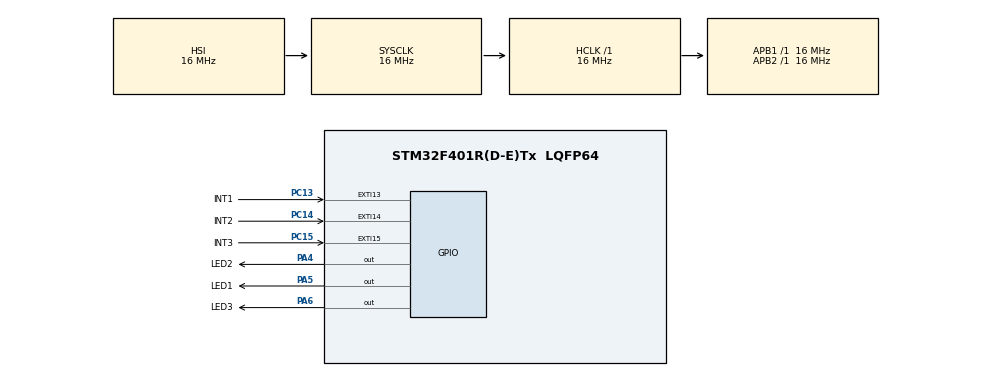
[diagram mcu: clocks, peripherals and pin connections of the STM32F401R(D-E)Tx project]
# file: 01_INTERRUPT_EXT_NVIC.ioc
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Mcu.Family=STM32F4
Mcu.Name=STM32F401R(D-E)Tx
Mcu.Package=LQFP64
NVIC.EXTI15_10_IRQn=true\:1\:0\:true\:false\:true\:true\:true\:true
NVIC.PriorityGroup=NVIC_PRIORITYGROUP_4
PA4.GPIO_Label=LED2
PA4.Signal=GPIO_Output
PA5.GPIO_Label=LED1
PA5.Signal=GPIO_Output
PA6.GPIO_Label=LED3
PA6.Signal=GPIO_Output
PC13-ANTI_TAMP.GPIO_Label=INT1
PC13-ANTI_TAMP.GPIO_ModeDefaultEXTI=GPIO_MODE_IT_FALLING
PC13-ANTI_TAMP.Signal=GPXTI13
PC14-OSC32_IN.GPIO_Label=INT2
PC14-OSC32_IN.GPIO_ModeDefaultEXTI=GPIO_MODE_IT_RISING
PC14-OSC32_IN.GPIO_PuPd=GPIO_PULLDOWN
PC14-OSC32_IN.Signal=GPXTI14
PC15-OSC32_OUT.GPIO_Label=INT3
PC15-OSC32_OUT.GPIO_ModeDefaultEXTI=GPIO_MODE_IT_RISING_FALLING
PC15-OSC32_OUT.GPIO_PuPd=GPIO_PULLUP
PC15-OSC32_OUT.Signal=GPXTI15
ProjectManager.HeapSize=0x200
ProjectManager.StackSize=0x400
ProjectManager.TargetToolchain=STM32CubeIDE
RCC.AHBFreq_Value=16000000
RCC.APB1Freq_Value=16000000
RCC.APB2Freq_Value=16000000
RCC.CortexFreq_Value=16000000
RCC.HSE_VALUE=25000000
RCC.HSI_VALUE=16000000
RCC.LSE_VALUE=32768
RCC.SYSCLKFreq_VALUE=16000000
RCC.VCOOutputFreq_Value=192000000
board=custom

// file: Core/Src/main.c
/* USER CODE BEGIN Header */
/**
  ******************************************************************************
  * @file           : main.c
  * @brief          : Main program body
  ******************************************************************************
  * @attention
  *
  * Copyright (c) 2023 STMicroelectronics.
  * All rights reserved.
  *
  * This software is licensed under terms that can be found in the LICENSE file
  * in the root directory of this software component.
  * If no LICENSE file comes with this software, it is provided AS-IS.
  *
  ******************************************************************************
  */
/* USER CODE END Header */
#include "main.h"

/* USER CODE BEGIN Includes */
#include <stdbool.h>
/* USER CODE END Includes */

/* USER CODE BEGIN PV */
volatile bool flag1=false, flag2=false, flag3=false;
/* USER CODE END PV */

void SystemClock_Config(void);
static void MX_GPIO_Init(void);

int main(void)
{

  /* MCU Configuration--------------------------------------------------------*/

  /* Reset of all peripherals, Initializes the Flash interface and the Systick. */
  HAL_Init();

  /* Configure the system clock */
  SystemClock_Config();

  /* Initialize all configured peripherals */
  MX_GPIO_Init();

  /* Infinite loop */
  /* USER CODE BEGIN WHILE */
  while (1)
  {

	  if(flag1){
		  HAL_GPIO_WritePin(GPIOA, LED1_Pin, GPIO_PIN_RESET);
		  for (uint8_t i = 0; i < 10; ++i) {
			HAL_GPIO_TogglePin(GPIOA, LED1_Pin);
			HAL_Delay(200);
		}
	  flag1=false;
	  }

	  if(flag2){
		  HAL_GPIO_WritePin(GPIOA, LED2_Pin, GPIO_PIN_RESET);
		  for (uint8_t k = 0; k < 10; ++k) {
			HAL_GPIO_TogglePin(GPIOA, LED2_Pin);
			HAL_Delay(200);
		}
	  flag2=false;
	  }

	  if(flag3){
		  HAL_GPIO_WritePin(GPIOA, LED3_Pin, GPIO_PIN_RESET);
		  for (uint8_t j = 0; j < 10; ++j) {
			HAL_GPIO_TogglePin(GPIOA, LED3_Pin);
			HAL_Delay(200);
		}
	  flag3=false;
	  }
    /* USER CODE END WHILE */

  }
}

void SystemClock_Config(void)
{
  RCC_OscInitTypeDef RCC_OscInitStruct = {0};
  RCC_ClkInitTypeDef RCC_ClkInitStruct = {0};

  /** Configure the main internal regulator output voltage
  */
  __HAL_RCC_PWR_CLK_ENABLE();
  __HAL_PWR_VOLTAGESCALING_CONFIG(PWR_REGULATOR_VOLTAGE_SCALE2);

  /** Initializes the RCC Oscillators according to the specified parameters
  * in the RCC_OscInitTypeDef structure.
  */
  RCC_OscInitStruct.OscillatorType = RCC_OSCILLATORTYPE_HSI;
  RCC_OscInitStruct.HSIState = RCC_HSI_ON;
  RCC_OscInitStruct.HSICalibrationValue = RCC_HSICALIBRATION_DEFAULT;
  RCC_OscInitStruct.PLL.PLLState = RCC_PLL_NONE;
  if (HAL_RCC_OscConfig(&RCC_OscInitStruct) != HAL_OK)
  {
    Error_Handler();
  }

  /** Initializes the CPU, AHB and APB buses clocks
  */
  RCC_ClkInitStruct.ClockType = RCC_CLOCKTYPE_HCLK|RCC_CLOCKTYPE_SYSCLK
                              |RCC_CLOCKTYPE_PCLK1|RCC_CLOCKTYPE_PCLK2;
  RCC_ClkInitStruct.SYSCLKSource = RCC_SYSCLKSOURCE_HSI;
  RCC_ClkInitStruct.AHBCLKDivider = RCC_SYSCLK_DIV1;
  RCC_ClkInitStruct.APB1CLKDivider = RCC_HCLK_DIV1;
  RCC_ClkInitStruct.APB2CLKDivider = RCC_HCLK_DIV1;

  if (HAL_RCC_ClockConfig(&RCC_ClkInitStruct, FLASH_LATENCY_0) != HAL_OK)
  {
    Error_Handler();
  }
}

static void MX_GPIO_Init(void)
{
  GPIO_InitTypeDef GPIO_InitStruct = {0};

  /* GPIO Ports Clock Enable */
  __HAL_RCC_GPIOC_CLK_ENABLE();
  __HAL_RCC_GPIOA_CLK_ENABLE();

  /*Configure GPIO pin Output Level */
  HAL_GPIO_WritePin(GPIOA, LED2_Pin|LED1_Pin|LED3_Pin, GPIO_PIN_RESET);

  /*Configure GPIO pin : INT1_Pin */
  GPIO_InitStruct.Pin = INT1_Pin;
  GPIO_InitStruct.Mode = GPIO_MODE_IT_FALLING;
  GPIO_InitStruct.Pull = GPIO_NOPULL;
  HAL_GPIO_Init(INT1_GPIO_Port, &GPIO_InitStruct);

  /*Configure GPIO pin : INT2_Pin */
  GPIO_InitStruct.Pin = INT2_Pin;
  GPIO_InitStruct.Mode = GPIO_MODE_IT_RISING;
  GPIO_InitStruct.Pull = GPIO_PULLDOWN;
  HAL_GPIO_Init(INT2_GPIO_Port, &GPIO_InitStruct);

  /*Configure GPIO pin : INT3_Pin */
  GPIO_InitStruct.Pin = INT3_Pin;
  GPIO_InitStruct.Mode = GPIO_MODE_IT_RISING_FALLING;
  GPIO_InitStruct.Pull = GPIO_PULLUP;
  HAL_GPIO_Init(INT3_GPIO_Port, &GPIO_InitStruct);

  /*Configure GPIO pins : LED2_Pin LED1_Pin LED3_Pin */
  GPIO_InitStruct.Pin = LED2_Pin|LED1_Pin|LED3_Pin;
  GPIO_InitStruct.Mode = GPIO_MODE_OUTPUT_PP;
  GPIO_InitStruct.Pull = GPIO_NOPULL;
  GPIO_InitStruct.Speed = GPIO_SPEED_FREQ_LOW;
  HAL_GPIO_Init(GPIOA, &GPIO_InitStruct);

  /* EXTI interrupt init*/
  HAL_NVIC_SetPriority(EXTI15_10_IRQn, 1, 0);
  HAL_NVIC_EnableIRQ(EXTI15_10_IRQn);

}

/* USER CODE BEGIN 4 */

void HAL_GPIO_EXTI_Callback(uint16_t GPIO_Pin)
{
	if(GPIO_Pin == INT1_Pin) flag1 = true;

	if(GPIO_Pin == INT2_Pin) flag2 = true;

	if(GPIO_Pin == INT3_Pin) flag3 = true;
}

/* USER CODE END 4 */

void Error_Handler(void)
{
  __disable_irq();
  while (1)
  {
  }
}
